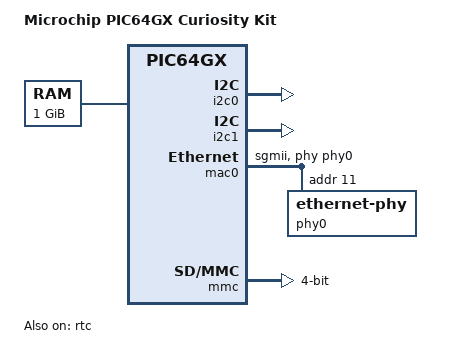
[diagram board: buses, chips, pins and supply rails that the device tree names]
// SPDX-License-Identifier: (GPL-2.0+ OR MIT)
/*
 * Device Tree Source for the PIC64GX Curiosity Kit
 *
 * Copyright (C) 2024 Microchip Technology Inc. and its subsidiaries
 *
 * Author: Pierre-Henry Moussay <pierre-henry.moussay@microchip.com>
 *
 * The Curiosity-GX10000 (PIC64GX SoC Curiosity Kit) is a compact SoC
 * prototyping board featuring a Microchip PIC64GX SoC
 * PIC64GX-1000. Features include:
 *  - 1 GB DDR4 SDRAM
 *  - Gigabit Ethernet
 *  - microSD-card slot
 *
 * https://www.microchip.com/en-us/development-tool/curiosity-pic64gx1000-kit-es
 */

/dts-v1/;

#include "pic64gx.dtsi"
#include "pic64gx-pinctrl.dtsi"

/* Clock frequency (in Hz) of the rtcclk */
#define RTCCLK_FREQ	1000000

/ {
	#address-cells = <2>;
	#size-cells = <2>;
	model = "Microchip PIC64GX Curiosity Kit";
	compatible = "microchip,pic64gx-curiosity-kit", "microchip,pic64gx";

	aliases {
		ethernet0 = &mac0;
		serial1 = &mmuart1;
		serial2 = &mmuart2;
	};

	chosen {
		stdout-path = "serial1:115200n8";
	};

	cpus {
		timebase-frequency = <RTCCLK_FREQ>;
	};

	memory@80000000 {
		device_type = "memory";
		reg = <0x0 0x80000000 0x0 0x40000000>;
	};

	reserved-memory {
		#address-cells = <2>;
		#size-cells = <2>;
		ranges;

		hss: hss-buffer@bfc00000 {
			compatible = "shared-dma-pool";
			reg = <0x0 0xbfc00000 0x0 0x400000>;
			no-map;
		};
	};
};

&gpio0 {
	status ="okay";
	gpio-line-names =
		"", "", "", "", "", "", "", "",
		"", "", "", "", "MIPI_CAM_RESET", "MIPI_CAM_STANDBY";
};

&gpio1 {
	status ="okay";
	gpio-line-names =
		"", "", "LED1", "LED2", "LED3", "LED4", "LED5", "LED6",
		"LED7", "LED8", "", "", "", "", "", "",
		"", "", "", "", "HDMI_HPD", "", "", "GPIO_1_23";
};

&gpio2 {
	pinctrl-names = "default";
	pinctrl-0 = <&mdio1_gpio>, <&spi0_gpio>, <&can0_gpio>, <&pcie_gpio>,
		    <&qspi_gpio>, <&uart3_gpio>, <&uart4_gpio>, <&can1_gpio>;
	status ="okay";
	gpio-line-names =
		"", "", "", "", "", "", "SWITCH2", "USR_IO12",
		"DIP1", "DIP2", "", "DIP3", "USR_IO1", "USR_IO2", "USR_IO7", "USR_IO8",
		"USR_IO3", "USR_IO4", "USR_IO5", "USR_IO6", "", "", "USR_IO9", "USR_IO10",
		"DIP4", "USR_IO11", "", "", "SWITCH1", "", "", "";
};

&i2c0 {
	status = "okay";
};

&i2c1 {
	status = "okay";
};

&irqmux {
	interrupt-map = <0 &plic 13>, <1 &plic 14>, <2 &plic 15>,
			<3 &plic 16>, <4 &plic 17>, <5 &plic 18>,
			<6 &plic 19>, <7 &plic 20>, <8 &plic 21>,
			<9 &plic 22>, <10 &plic 23>, <11 &plic 24>,
			<12 &plic 25>, <13 &plic 26>,

			<32 &plic 27>, <33 &plic 28>, <34 &plic 29>,
			<35 &plic 30>, <36 &plic 31>, <37 &plic 32>,
			<38 &plic 33>, <39 &plic 34>, <40 &plic 35>,
			<41 &plic 36>, <42 &plic 37>, <43 &plic 38>,
			<44 &plic 39>, <45 &plic 40>, <46 &plic 41>,
			<47 &plic 42>, <48 &plic 43>, <49 &plic 44>,
			<50 &plic 45>, <51 &plic 46>, <52 &plic 47>,
			<53 &plic 48>, <54 &plic 49>, <55 &plic 50>,

			<64 &plic 53>, <65 &plic 53>, <66 &plic 53>,
			<67 &plic 53>, <68 &plic 53>, <69 &plic 53>,
			<70 &plic 53>, <71 &plic 53>, <72 &plic 53>,
			<73 &plic 53>, <74 &plic 53>, <75 &plic 53>,
			<76 &plic 53>, <77 &plic 53>, <78 &plic 53>,
			<79 &plic 53>, <80 &plic 53>, <81 &plic 53>,
			<82 &plic 53>, <83 &plic 53>, <84 &plic 53>,
			<85 &plic 53>, <86 &plic 53>, <87 &plic 53>,
			<88 &plic 53>, <89 &plic 53>, <90 &plic 53>,
			<91 &plic 53>, <92 &plic 53>, <93 &plic 53>,
			<94 &plic 53>, <95 &plic 53>;
};

&mac0 {
	status = "okay";
	phy-mode = "sgmii";
	phy-handle = <&phy0>;
	pinctrl-names = "default";
	pinctrl-0 = <&mdio0_default>;

	phy0: ethernet-phy@b {
		reg = <0xb>;
	};
};

&mbox {
	status = "okay";
};

&mmc {
	bus-width = <4>;
	disable-wp;
	cap-sd-highspeed;
	cap-mmc-highspeed;
	sdhci-caps-mask = <0x00000007 0x00000000>;
	status = "okay";
};

&mmuart1 {
	pinctrl-names = "default";
	pinctrl-0 = <&uart1_fio>;
	status = "okay";
};

&mmuart2 {
	pinctrl-names = "default";
	pinctrl-0 = <&uart2_default>;
	status = "okay";
};

&refclk {
	clock-frequency = <125000000>;
};

&rtc {
	status = "okay";
};
